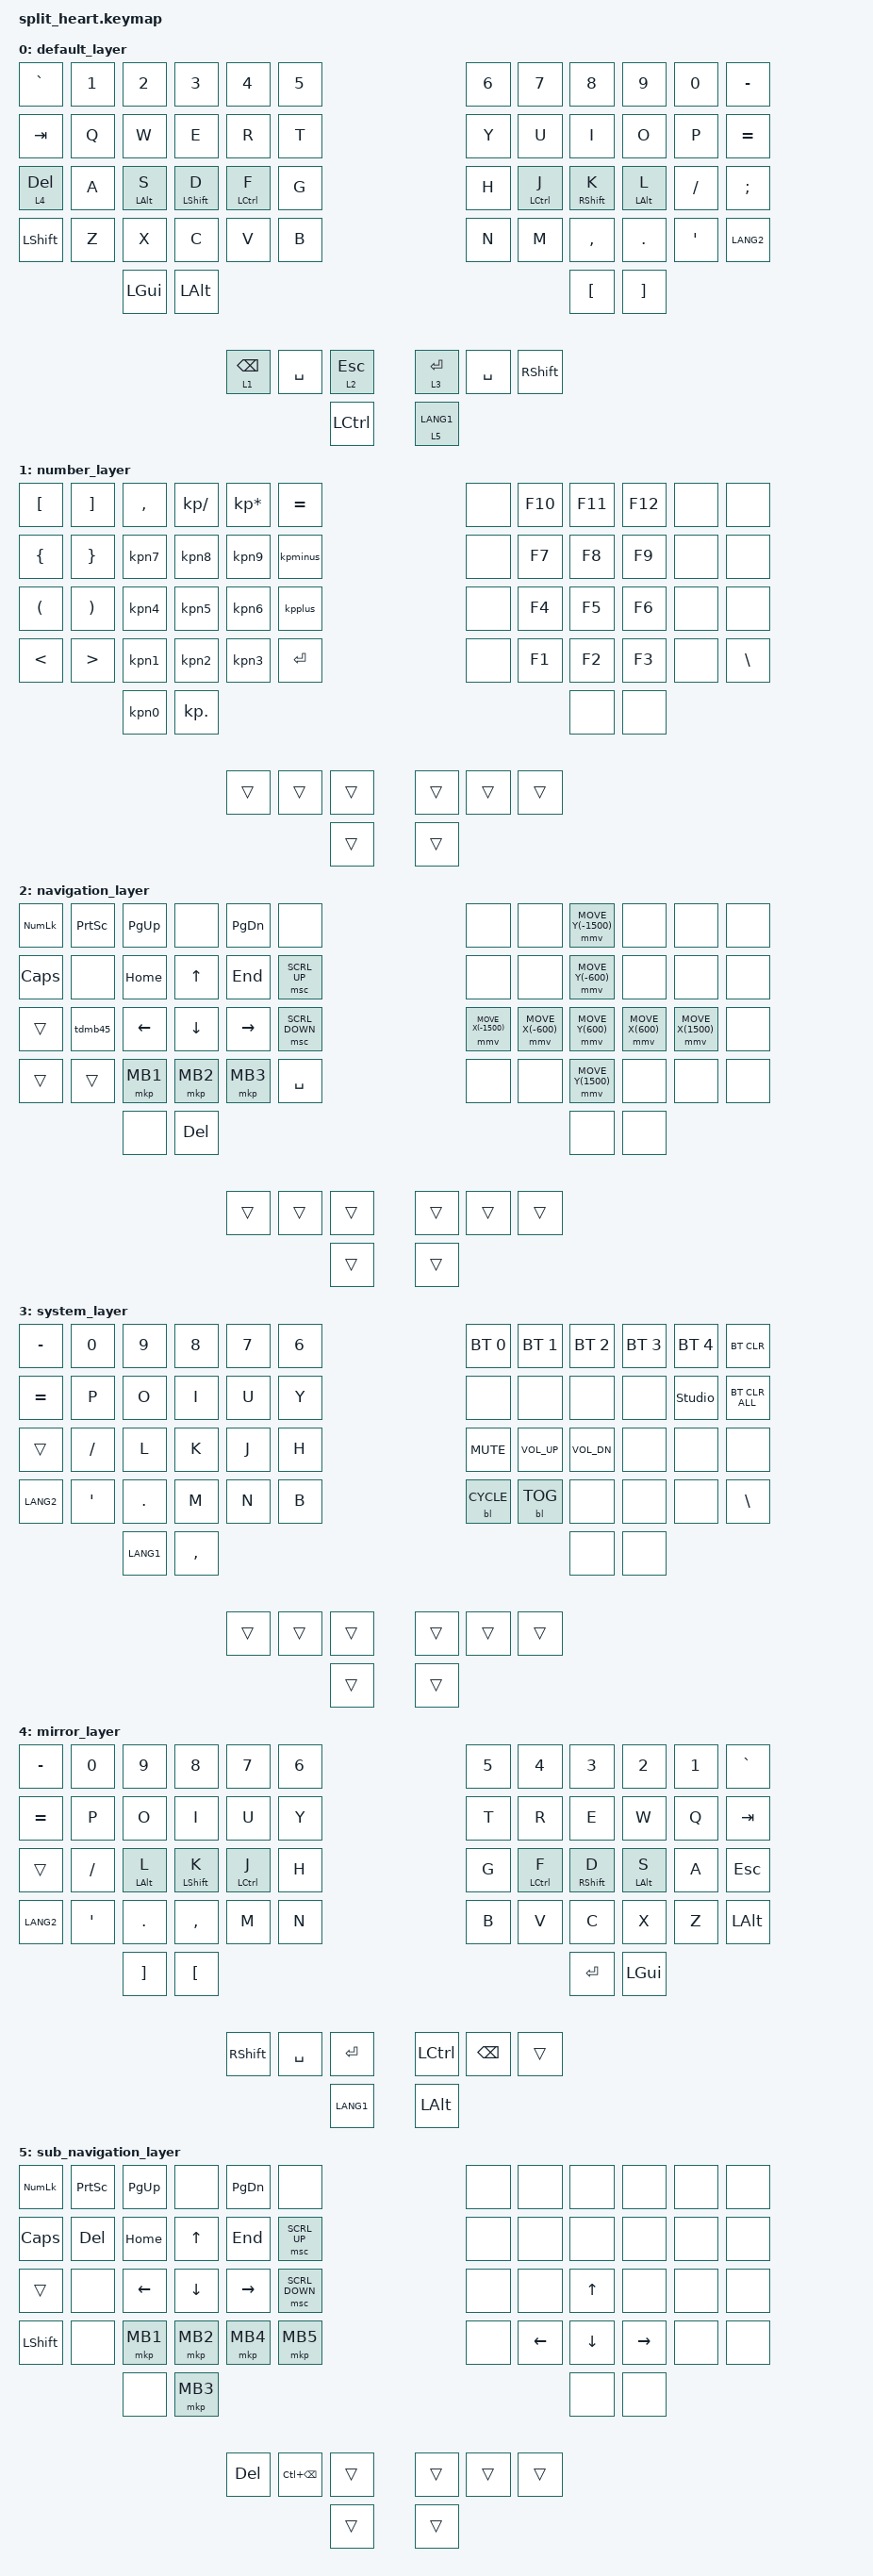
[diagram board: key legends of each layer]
// This file was generated from a template. Edit it to match your keyboard.
// See https://zmk.dev/docs/development/hardware-integration/new-shield for more instructions.

#include <behaviors.dtsi>
#include <dt-bindings/zmk/keys.h>
#include <dt-bindings/zmk/bt.h>
#define ZMK_POINTING_DEFAULT_SCRL_VAL 20  // Scroll speed; ZMK default is 10
#include <dt-bindings/zmk/pointing.h>

#define KEYS_L 0 1 2 3 4 5      12 13 14 15 16 17   24 25 26 27 28 29   36 37 38 39 40 41
#define KEYS_R 6 7 8 9 10 11    18 19 20 21 22 23   30 31 32 33 34 35   42 43 44 45 46 47
#define THUMBS 48 49   52 53 54 55      50 51   56 57 58 59

/ {
    behaviors {
        kpn1: kpn1_shiftn1 {
            compatible = "zmk,behavior-mod-morph";
            #binding-cells = <0>;
            bindings = <&kp KP_N1>, <&kp EXCL>;
            mods = <(MOD_LSFT|MOD_RSFT)>;
        };
        kpn2: kpn2_shiftn2 {
            compatible = "zmk,behavior-mod-morph";
            #binding-cells = <0>;
            bindings = <&kp KP_N2>, <&kp AT>;
            mods = <(MOD_LSFT|MOD_RSFT)>;
        };
        kpn3: kpn3_shiftn3 {
            compatible = "zmk,behavior-mod-morph";
            #binding-cells = <0>;
            bindings = <&kp KP_N3>, <&kp POUND>;
            mods = <(MOD_LSFT|MOD_RSFT)>;
        };
        kpn4: kpn4_shiftn4 {
            compatible = "zmk,behavior-mod-morph";
            #binding-cells = <0>;
            bindings = <&kp KP_N4>, <&kp DLLR>;
            mods = <(MOD_LSFT|MOD_RSFT)>;
        };
        kpn5: kpn5_shiftn5 {
            compatible = "zmk,behavior-mod-morph";
            #binding-cells = <0>;
            bindings = <&kp KP_N5>, <&kp PRCNT>;
            mods = <(MOD_LSFT|MOD_RSFT)>;
        };
        kpn6: kpn6_shiftn6 {
            compatible = "zmk,behavior-mod-morph";
            #binding-cells = <0>;
            bindings = <&kp KP_N6>, <&kp CARET>;
            mods = <(MOD_LSFT|MOD_RSFT)>;
        };
        kpn7: kpn7_shiftn7 {
            compatible = "zmk,behavior-mod-morph";
            #binding-cells = <0>;
            bindings = <&kp KP_N7>, <&kp AMPS>;
            mods = <(MOD_LSFT|MOD_RSFT)>;
        };
        kpn8: kpn8_shiftn8 {
            compatible = "zmk,behavior-mod-morph";
            #binding-cells = <0>;
            bindings = <&kp KP_N8>, <&kp ASTRK>;
            mods = <(MOD_LSFT|MOD_RSFT)>;
        };
        kpn9: kpn9_shiftn9 {
            compatible = "zmk,behavior-mod-morph";
            #binding-cells = <0>;
            bindings = <&kp KP_N9>, <&kp LPAR>;
            mods = <(MOD_LSFT|MOD_RSFT)>;
        };
        kpn0: kpn0_shiftn0 {
            compatible = "zmk,behavior-mod-morph";
            #binding-cells = <0>;
            bindings = <&kp KP_N0>, <&kp RPAR>;
            mods = <(MOD_LSFT|MOD_RSFT)>;
        };

        kpminus: kpminus_under {
            compatible = "zmk,behavior-mod-morph";
            #binding-cells = <0>;
            bindings = <&kp KP_MINUS>, <&kp UNDERSCORE>;
            mods = <(MOD_LSFT|MOD_RSFT)>;
        };

        kpplus: kpplus_equal {
            compatible = "zmk,behavior-mod-morph";
            #binding-cells = <0>;
            bindings = <&kp KP_PLUS>, <&kp EQUAL>;
            mods = <(MOD_LSFT|MOD_RSFT)>;
        };

        hml: home_row_mod_left {
            compatible = "zmk,behavior-hold-tap";
            #binding-cells = <2>;
            flavor = "balanced";
            require-prior-idle-ms = <150>;
            tapping-term-ms = <280>;
            quick-tap-ms = <175>;
            bindings = <&kp>, <&kp>;
            hold-trigger-key-positions = < KEYS_R THUMBS >; // List of keys on the right side of the keyboard
            hold-trigger-on-release;
        };
        hmr: home_row_mod_right {
            compatible = "zmk,behavior-hold-tap";
            #binding-cells = <2>;
            flavor = "balanced";
            require-prior-idle-ms = <150>;
            tapping-term-ms = <280>;
            quick-tap-ms = <175>;
            bindings = <&kp>, <&kp>;
            hold-trigger-key-positions = < KEYS_L THUMBS >; // List of keys on the left side of the keyboard
            hold-trigger-on-release;
        };

        tdmb45: tap_dance_mouse_m45 {
            compatible = "zmk,behavior-tap-dance";
            #binding-cells = <0>;
            tapping-term-ms = <180>;
            bindings = <&mkp MB4>, <&mkp MB5>;
        };
    };

    combos {
        compatible = "zmk,combos";

        // Six identical combos reduced to one; number layer keys 0+1 -> Esc.
        combo_escape {
            timeout-ms = <50>;
            key-positions = <0 1>;
            layers = <1>;
            bindings = <&kp ESC>;
        };
    };

/* 
0  1  2  3  4  5     6  7  8  9  10 11
12 13 14 15 16 17    18 19 20 21 22 23
24 25 26 27 28 29    30 31 32 33 34 35
36 37 38 39 40 41    42 43 44 45 46 47
      48 49                50 51
      52 53 54 55    56 57 58 59
*/

    keymap {
        compatible = "zmk,keymap";
        default_layer {
            bindings = <
&kp GRAVE     &kp N1        &kp N2        &kp N3        &kp N4        &kp N5          &kp N6         &kp N7         &kp N8         &kp N9         &kp N0         &kp MINUS 
&kp TAB       &kp Q         &kp W         &kp E         &kp R         &kp T           &kp Y          &kp U          &kp I          &kp O          &kp P          &kp EQUAL
&lt 4 DEL     &kp A         &hml LALT S   &hml LSHIFT D &hml LCTRL F  &kp G           &kp H          &hmr LCTRL J   &hmr RSHIFT K  &hmr LALT L    &kp SLASH      &kp SEMI
&kp LSHIFT    &kp Z         &kp X         &kp C         &kp V         &kp B           &kp N          &kp M          &kp COMMA      &kp DOT        &kp SQT        &kp LANG2
                            &kp LGUI      &kp LALT                                                                  &kp LBKT       &kp RBKT
                            &lt 1 BSPC    &kp SPACE     &lt 2 ESC     &kp LCTRL       &lt 5 LANG1    &lt 3 ENTER    &kp SPACE      &kp RSHFT      
            >;
        };

        number_layer {  // 1
            bindings = <
&kp LBKT      &kp RBKT      &kp COMMA     &kp KP_DIVIDE    &kp KP_MULTIPLY   &kp EQUAL       &none          &kp F10        &kp F11        &kp F12        &none          &none
&kp LBRC      &kp RBRC      &kpn7         &kpn8         &kpn9         &kpminus        &none          &kp F7         &kp F8         &kp F9         &none          &none
&kp LPAR      &kp RPAR      &kpn4         &kpn5         &kpn6         &kpplus         &none          &kp F4         &kp F5         &kp F6         &none          &none
&kp LT        &kp GT        &kpn1         &kpn2         &kpn3         &kp ENTER       &none          &kp F1         &kp F2         &kp F3         &none          &kp BSLH
                            &kpn0         &kp KP_DOT                                                                &none          &none
                            &trans        &trans        &trans        &trans          &trans         &trans         &trans         &trans 
            >;
        };

        navigation_layer { // 2
            bindings = <
&kp KP_NUM    &kp PSCRN     &kp PG_UP     &none         &kp PG_DN     &none           &none          &none           &mmv MOVE_Y(-1500) &none           &none           &none
&kp CAPS      &none         &kp HOME      &kp UP        &kp END       &msc SCRL_UP    &none          &none           &mmv MOVE_Y(-600)  &none           &none           &none
&trans        &tdmb45       &kp LEFT      &kp DOWN      &kp RIGHT     &msc SCRL_DOWN  &mmv MOVE_X(-1500) &mmv MOVE_X(-600)   &mmv MOVE_Y(600)   &mmv MOVE_X(600)    &mmv MOVE_X(1500)   &none
&trans        &trans        &mkp MB1      &mkp MB2      &mkp MB3      &kp SPACE       &none          &none           &mmv MOVE_Y(1500)  &none           &none           &none
                            &none         &kp DEL                                                                    &none          &none       
                            &trans        &trans        &trans       &trans         &trans         &trans          &trans         &trans 
            >;
        };

        // Hold right thumb Enter (position 57) for layer 3, then:
        // P (position 22) = unlock ZMK Studio for editing.
        // Positions 20 and 21 are unassigned; output selection remains automatic.
        system_layer { // 3
            bindings = <
&kp MINUS    &kp N0         &kp N9        &kp N8        &kp N7        &kp N6          &bt BT_SEL 0   &bt BT_SEL 1   &bt BT_SEL 2 &bt BT_SEL 3 &bt BT_SEL 4  &bt BT_CLR
&kp EQUAL    &kp P          &kp O         &kp I         &kp U         &kp Y           &none          &none          &none        &none        &studio_unlock &bt BT_CLR_ALL
&trans       &kp SLASH      &kp L         &kp K         &kp J         &kp H           &kp C_MUTE     &kp C_VOL_UP   &kp C_VOL_DN &none        &none         &none
&kp LANG2    &kp SQT        &kp DOT       &kp M         &kp N         &kp B           &bl BL_CYCLE   &bl BL_TOG     &none        &none        &none         &kp BSLH
                            &kp LANG1     &kp COMMA                                                                 &none        &none      
                            &trans        &trans        &trans        &trans          &trans         &trans         &trans       &trans
            >;
        };

        mirror_layer { // 4
            bindings = <
&kp MINUS    &kp N0         &kp N9        &kp N8        &kp N7       &kp N6          &kp N5       &kp N4       &kp N3        &kp N2       &kp N1       &kp GRAVE 
&kp EQUAL    &kp P          &kp O         &kp I         &kp U        &kp Y           &kp T        &kp R        &kp E         &kp W        &kp Q        &kp TAB
&trans       &kp SLASH      &hml LALT L   &hml LSHIFT K &hml LCTRL J &kp H           &kp G        &hmr LCTRL F &hmr RSHIFT D &hmr LALT S  &kp A        &kp ESC
&kp LANG2    &kp SQT        &kp DOT       &kp COMMA     &kp M        &kp N           &kp B        &kp V        &kp C         &kp X        &kp Z        &kp LALT
                            &kp RBKT      &kp LBKT                                                             &kp ENTER     &kp LGUI  
                            &kp RSHFT     &kp SPACE     &kp ENTER    &kp LANG1       &kp LALT     &kp LCTRL    &kp BSPC      &trans
            >;             
        };

        sub_navigation_layer { // 5
            bindings = <
&kp KP_NUM    &kp PSCRN     &kp PG_UP     &none         &kp PG_DN     &none           &none          &none           &none          &none           &none           &none
&kp CAPS      &kp DEL       &kp HOME      &kp UP        &kp END       &msc SCRL_UP    &none          &none           &none          &none           &none           &none
&trans        &none         &kp LEFT      &kp DOWN      &kp RIGHT     &msc SCRL_DOWN  &none          &none           &kp UP          &none           &none           &none
&kp LSHFT     &none         &mkp MB1      &mkp MB2      &mkp MB4      &mkp MB5        &none          &kp LEFT        &kp DOWN        &kp RIGHT      &none           &none
                            &none         &mkp MB3                                                                   &none          &none       
                            &kp DEL       &kp LC(BSPC)  &trans        &trans          &trans         &trans          &trans         &trans 
            >;
        };

    };
};
